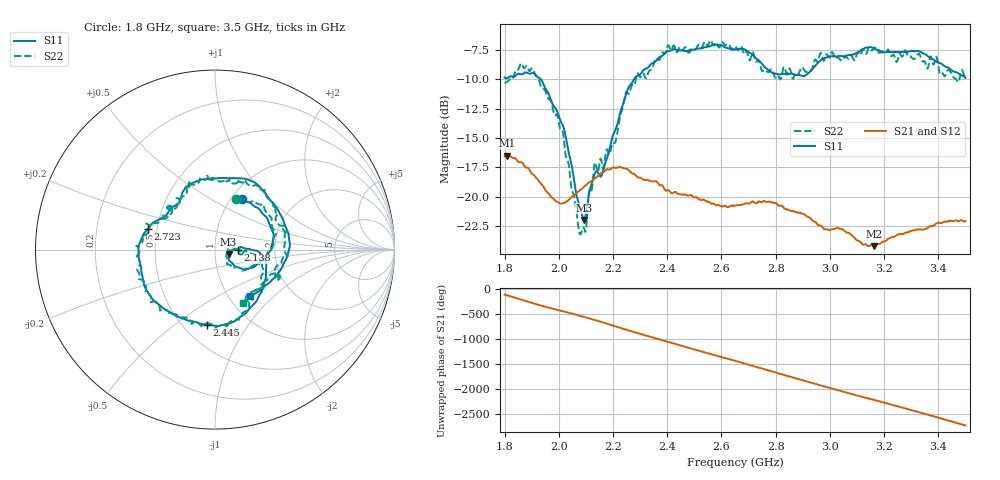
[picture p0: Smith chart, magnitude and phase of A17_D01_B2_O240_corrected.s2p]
! Created with skrf 1.9.0 (http://scikit-rf.org).
# Hz S RI R 50.0
!freq ReS11 ImS11 ReS21 ImS21 ReS12 ImS12 ReS22 ImS22
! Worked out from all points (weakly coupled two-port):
!   1601 points, 1.8 GHz to 3.5 GHz, reference 50 ohm
!   highest |S21| = -16.52 dB at 1.81 GHz (marker M1); lowest = -24.2 dB at 3.163 GHz (marker M2)
!   lowest |S11| = -22.0 dB at 2.093 GHz (marker M3), VSWR 1.17, Z = 58.1 - j2.84 ohm
!   |S11| at or under -10 dB: 1.934 GHz to 2.277 GHz (342.9 MHz wide, 16.3 % of centre)
!   |S22| runs from -23.2 to -6.7 dB; largest |S21 - S12| = 0.003
!   S11 on the Smith chart (normalised r, x): 1.8 GHz: 1.12, +0.71; 2.138 GHz: 1.29, -0.01; 2.445 GHz: 0.65, -0.66; 2.723 GHz: 0.44, +0.12; 3.5 GHz: 1.25, -0.72
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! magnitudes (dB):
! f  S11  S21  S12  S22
! 1.8 GHz  -9.8  -16.5  -16.6  -10.3
! 1.81 GHz  -9.9  -16.5  -16.5  -10.2
! 1.88 GHz  -9.4  -17.5  -17.5  -8.9
! 1.968 GHz  -11.6  -19.9  -19.9  -11.7
! 2.02 GHz  -14.3  -20.5  -20.5  -15.4
! 2.084 GHz  -21.4  -19.4  -19.3  -23.0
! 2.093 GHz  -22.0  -19.1  -19.2  -22.7
! 2.138 GHz  -17.8  -18.4  -18.4  -17.3
! 2.16 GHz  -18.1  -18.0  -17.9  -17.3
! 2.208 GHz  -14.3  -17.5  -17.5  -15.4
! 2.259 GHz  -10.6  -17.8  -17.8  -11.2
! 2.367 GHz  -8.2  -18.9  -18.9  -8.3
! 2.445 GHz  -7.5  -19.8  -19.8  -7.3
! 2.65 GHz  -7.4  -20.8  -20.7  -7.2
! 2.723 GHz  -8.1  -20.5  -20.5  -8.3
! 2.812 GHz  -9.6  -20.8  -20.7  -9.8
! 2.934 GHz  -9.2  -22.0  -22.0  -9.2
! 3.163 GHz  -7.3  -24.2  -24.2  -7.3
! 3.217 GHz  -7.7  -23.6  -23.6  -7.5
! 3.328 GHz  -7.6  -22.8  -22.8  -7.8
! 3.468 GHz  -9.4  -22.0  -22.0  -10.1
! 3.5 GHz  -9.9  -22.1  -22.1  -9.4
